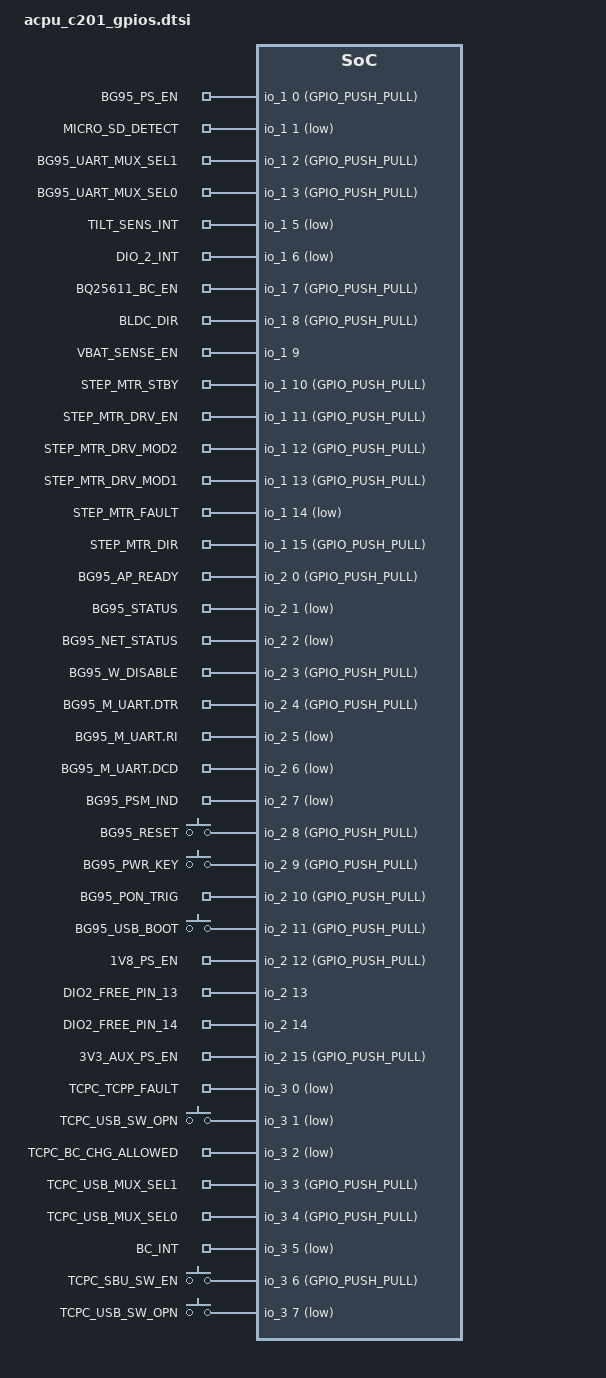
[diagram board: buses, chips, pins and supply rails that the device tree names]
/*
 * Copyright (c) 2021 Acme CPU
 *
 */


/*
 *	This file describes parameters to initialize individual pins of the 
 *	DIO_1, DIO_2 and DIO_3 port expanders with during the system boots up.
 *	It is intended to be used by BSP GPIO Device Driver.
 */


&c201 {

  dio_1: gpio-pe-1 {
    /*compatible = "bsp-gpios";*/
    compatible = "gpio-keys";

    pin_0 {
      gpios = <&io_1 0 (GPIO_PUSH_PULL)>;
      label = "BG95_PS_EN";
    };

    pin_1 {
      gpios = <&io_1 1 (GPIO_PULL_UP | GPIO_ACTIVE_LOW)>;
      label = "MICRO_SD_DETECT";
    };

    pin_2 {
      gpios = <&io_1 2 (GPIO_PUSH_PULL)>;
      label = "BG95_UART_MUX_SEL1";
    };

    pin_3 {
      gpios = <&io_1 3 (GPIO_PUSH_PULL)>;
      label = "BG95_UART_MUX_SEL0";
    };

/*
 *	This has been moved into blower node (acpu_c201_blower.dtsi)
 *
    pin_4 {
      gpios = <&io_1 4 (GPIO_PUSH_PULL)>;
      label = "FAN_PS_EN";
    };
 *
 */

    pin_5 {
      gpios = <&io_1 5 (GPIO_PULL_UP | GPIO_ACTIVE_LOW)>;
      label = "TILT_SENS_INT";
    };

    pin_6 {
      gpios = <&io_1 6 (GPIO_PULL_UP | GPIO_ACTIVE_LOW)>;
      label = "DIO_2_INT";
    };

    pin_7 {
      gpios = <&io_1 7 (GPIO_PUSH_PULL)>;
      label = "BQ25611_BC_EN";
    };

    pin_8 {
      gpios = <&io_1 8 (GPIO_PUSH_PULL)>;
      label = "BLDC_DIR";
    };

    vbat_sense_en: pin_9 {
      gpios = <&io_1 9 (GPIO_PUSH_PULL | GPIO_ACTIVE_HIGH)>;
      label = "VBAT_SENSE_EN";
    };

    pin_10 {
      gpios = <&io_1 10 (GPIO_PUSH_PULL)>;
      label = "STEP_MTR_STBY";
    };

    pin_11 {
      gpios = <&io_1 11 (GPIO_PUSH_PULL)>;
      label = "STEP_MTR_DRV_EN";
    };

    pin_12 {
      gpios = <&io_1 12 (GPIO_PUSH_PULL)>;
      label = "STEP_MTR_DRV_MOD2";
    };

    pin_13 {
      gpios = <&io_1 13 (GPIO_PUSH_PULL)>;
      label = "STEP_MTR_DRV_MOD1";
    };

    pin_14 {
      gpios = <&io_1 14 (GPIO_PULL_UP | GPIO_ACTIVE_LOW)>;
      label = "STEP_MTR_FAULT";
    };

    pin_15 {
      gpios = <&io_1 15 (GPIO_PUSH_PULL)>;
      label = "STEP_MTR_DIR";
    };

  };


  dio_2: gpio-pe-2 {
    /*compatible = "bsp-gpios";*/
    compatible = "gpio-keys";

    pin_0 {
      gpios = <&io_2 0 (GPIO_PUSH_PULL)>;
      label = "BG95_AP_READY";
    };

    pin_1 {
      gpios = <&io_2 1 (GPIO_PULL_UP | GPIO_ACTIVE_LOW)>;
      label = "BG95_STATUS";
    };

    pin_2 {
      gpios = <&io_2 2 (GPIO_PULL_UP | GPIO_ACTIVE_LOW)>;
      label = "BG95_NET_STATUS";
    };

    pin_3 {
      gpios = <&io_2 3 (GPIO_PUSH_PULL)>;
      label = "BG95_W_DISABLE";
    };

    pin_4 {
      gpios = <&io_2 4 (GPIO_PUSH_PULL)>;
      label = "BG95_M_UART.DTR";
    };

    pin_5 {
      gpios = <&io_2 5 (GPIO_PULL_UP | GPIO_ACTIVE_LOW)>;
      label = "BG95_M_UART.RI";
    };

    pin_6 {
      gpios = <&io_2 6 (GPIO_PULL_UP | GPIO_ACTIVE_LOW)>;
      label = "BG95_M_UART.DCD";
    };

    pin_7 {
      gpios = <&io_2 7 (GPIO_PULL_UP | GPIO_ACTIVE_LOW)>;
      label = "BG95_PSM_IND";
    };

    pin_8 {
      gpios = <&io_2 8 (GPIO_PUSH_PULL)>;
      label = "BG95_RESET";
    };

    pin_9 {
      gpios = <&io_2 9 (GPIO_PUSH_PULL)>;
      label = "BG95_PWR_KEY";
    };

    pin_10 {
      gpios = <&io_2 10 (GPIO_PUSH_PULL)>;
      label = "BG95_PON_TRIG";
    };

    pin_11 {
      gpios = <&io_2 11 (GPIO_PUSH_PULL)>;
      label = "BG95_USB_BOOT";
    };

    pin_12 {
      gpios = <&io_2 12 (GPIO_PUSH_PULL)>;
      label = "1V8_PS_EN";
    };

    pin_13 {
      gpios = <&io_2 13 (GPIO_PULL_DOWN)>;
      label = "DIO2_FREE_PIN_13";
    };

    pin_14 {
      gpios = <&io_2 14 (GPIO_PULL_DOWN)>;
      label = "DIO2_FREE_PIN_14";
    };

    pin_15 {
      gpios = <&io_2 15 (GPIO_PUSH_PULL)>;
      label = "3V3_AUX_PS_EN";
    };

  };

  dio_3: gpio-pe-3 {
    /*compatible = "bsp-gpios";*/
    compatible = "gpio-keys";

    pin_0 {
      gpios = <&io_3 0 (GPIO_PULL_UP | GPIO_ACTIVE_LOW)>;
      label = "TCPC_TCPP_FAULT";
    };

    pin_1 {
      gpios = <&io_3 1 (GPIO_PULL_UP | GPIO_ACTIVE_LOW)>;
      label = "TCPC_USB_SW_OPN";
    };

    pin_2 {
      gpios = <&io_3 2 (GPIO_PULL_UP | GPIO_ACTIVE_LOW)>;
      label = "TCPC_BC_CHG_ALLOWED";
    };

    usb_mux_sel1: pin_3 {
      gpios = <&io_3 3 (GPIO_PUSH_PULL)>;
      label = "TCPC_USB_MUX_SEL1";
    };

    usb_mux_sel0: pin_4 {
      gpios = <&io_3 4 (GPIO_PUSH_PULL)>;
      label = "TCPC_USB_MUX_SEL0";
    };

    pin_5 {
      gpios = <&io_3 5 (GPIO_PULL_UP | GPIO_ACTIVE_LOW)>;
      label = "BC_INT";
    };

    pin_6 {
      gpios = <&io_3 6 (GPIO_PUSH_PULL)>;
      label = "TCPC_SBU_SW_EN";
    };

    pin_7 {
      gpios = <&io_3 7 (GPIO_PULL_UP | GPIO_ACTIVE_LOW)>;
      label = "TCPC_USB_SW_OPN";
    };

/*
 *  Remaining pins of the DIO_3 port expander are dedicated for the user keypad switches.
 *  Description of those pins is presented in acme_cpu_c201_user_interface.dtsi file
 */

  };

};

